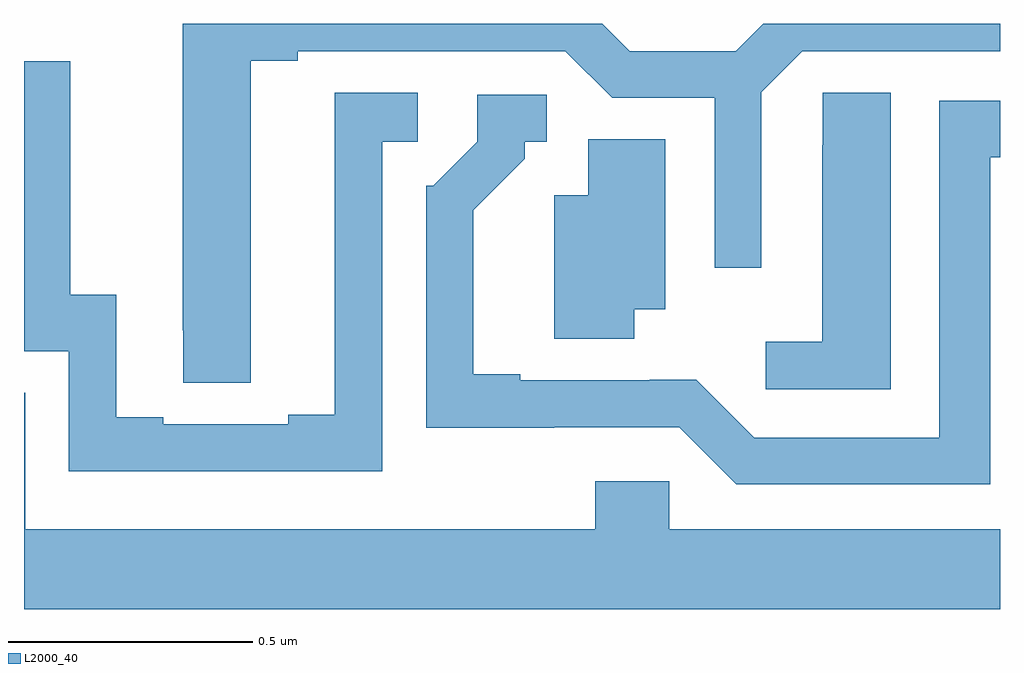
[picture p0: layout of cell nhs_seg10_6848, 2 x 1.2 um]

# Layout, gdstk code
import gdstk
lib = gdstk.Library(unit=1e-6, precision=1e-09)
def P(c, l, *ps):  # polygons
    for p in ps: c.add(gdstk.Polygon(p, *l))
L2000_40 = (2000, 40)

nhs_seg10_6848 = lib.new_cell('nhs_seg10_6848')
P(nhs_seg10_6848, L2000_40, [(196.465,1317.424),(196.561,1317.424),(196.561,1317.444),(197.109,1317.444),(197.205,1317.348),(197.415,1317.348),(197.415,1317),(197.511,1317),(197.511,1317.36),(197.595,1317.444),(198,1317.444),(198,1317.5),(197.515,1317.5),(197.459,1317.444),(197.241,1317.444),(197.185,1317.5),(196.325,1317.5),(196.325,1316.872),(196.326,1316.872),(196.326,1316.764),(196.465,1316.764)],
  [(196.734,1317.258),(196.807,1317.258),(196.807,1317.359),(196.637,1317.359),(196.637,1316.699),(196.541,1316.699),(196.541,1316.679),(196.285,1316.679),(196.285,1316.694),(196.189,1316.694),(196.189,1316.945),(196.095,1316.945),(196.095,1317.423),(196,1317.423),(196,1316.829),(196.092,1316.829),(196.092,1316.583),(196.734,1316.583)],
  [(197.776,1317.359),(197.637,1317.359),(197.637,1317.251),(197.636,1317.251),(197.636,1316.848),(197.52,1316.848),(197.52,1316.751),(197.776,1316.751)],
  [(197.98,1317.226),(198,1317.226),(198,1317.342),(197.876,1317.342),(197.876,1316.652),(197.496,1316.652),(197.378,1316.77),(197.282,1316.77),(197.282,1316.769),(197.017,1316.769),(197.017,1316.782),(196.921,1316.782),(196.921,1317.118),(197.026,1317.223),(197.026,1317.258),(197.071,1317.258),(197.071,1317.354),(196.929,1317.354),(196.929,1317.258),(196.839,1317.168),(196.824,1317.168),(196.824,1316.672),(197.087,1316.672),(197.087,1316.673),(197.343,1316.673),(197.46,1316.556),(197.98,1316.556)],
  [(197.251,1316.915),(197.314,1316.915),(197.314,1317.263),(197.156,1317.263),(197.156,1317.148),(197.087,1317.148),(197.087,1316.854),(197.251,1316.854)],
  [(198,1316.464),(197.322,1316.464),(197.322,1316.562),(197.171,1316.562),(197.171,1316.464),(196.003,1316.464),(196.003,1316.744),(196,1316.744),(196,1316.3),(198,1316.3)])

lib.write_gds('nhs_seg10_6848.gds')
